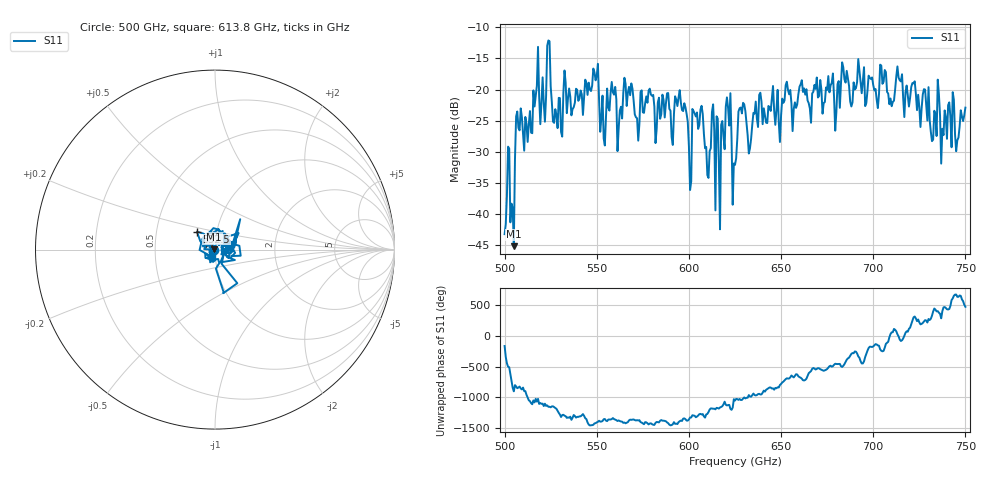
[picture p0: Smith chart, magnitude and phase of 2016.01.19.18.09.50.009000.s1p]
!Created with skrf (http://scikit-rf.org).
# GHz S RI R 50.0
!freq ReS11 ImS11
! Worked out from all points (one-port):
!   401 points, 500 GHz to 750 GHz, reference 50 ohm
!   lowest |S11| = -45.1 dB at 505 GHz (marker M1), VSWR 1.01, Z = 49.5 + j0.0588 ohm
!   |S11| at or under -10 dB: start of sweep to end of sweep
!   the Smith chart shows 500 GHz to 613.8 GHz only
!   S11 on the Smith chart (normalised r, x): 500 GHz: 0.99, -0.00; 532.5 GHz: 0.80, +0.16; 613.8 GHz: 0.96, -0.08
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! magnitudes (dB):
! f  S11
! 500 GHz  -43.2
! 505 GHz  -45.1
! 507.5 GHz  -26.2
! 520.6 GHz  -18.1
! 523.8 GHz  -12.1
! 527.5 GHz  -23.2
! 531.2 GHz  -27.6
! 532.5 GHz  -16.9
! 549.4 GHz  -18.5
! 553.1 GHz  -21.0
! 558.8 GHz  -20.5
! 562.5 GHz  -23.4
! 566.2 GHz  -22.6
! 571.9 GHz  -24.6
! 593.8 GHz  -22.7
! 600 GHz  -29.2
! 603.1 GHz  -23.9
! 610 GHz  -33.7
! 613.8 GHz  -26.6
! 615.6 GHz  -24.7
! 621.2 GHz  -23.0
! 625 GHz  -32.1
! 628.8 GHz  -23.8
! 633.1 GHz  -29.4
! 656.2 GHz  -26.7
! 687.5 GHz  -21.9
! 718.8 GHz  -20.9
! 750 GHz  -22.9
